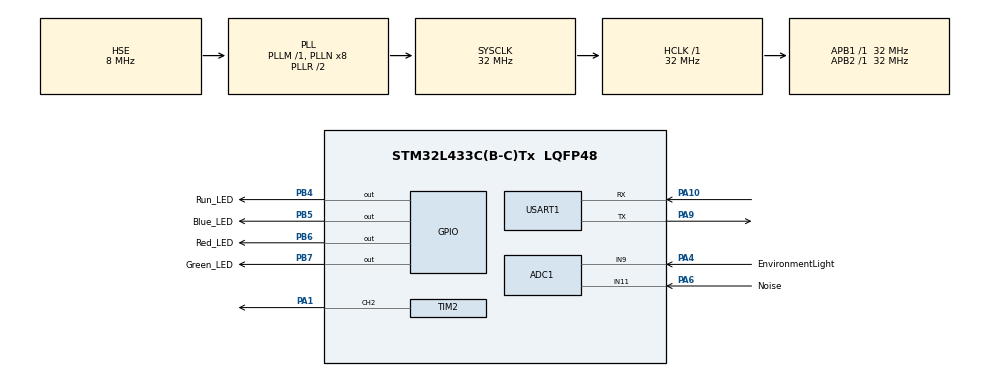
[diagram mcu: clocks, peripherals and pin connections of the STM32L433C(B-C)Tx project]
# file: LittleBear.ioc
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ADC1.Channel-0\#ChannelRegularConversion=ADC_CHANNEL_11
ADC1.Channel-1\#ChannelRegularConversion=ADC_CHANNEL_9
ADC1.ContinuousConvMode=ENABLE
ADC1.DMAContinuousRequests=ENABLE
ADC1.NbrOfConversion=2
ADC1.NbrOfConversionFlag=1
ADC1.OffsetNumber-0\#ChannelRegularConversion=ADC_OFFSET_NONE
ADC1.OffsetNumber-1\#ChannelRegularConversion=ADC_OFFSET_NONE
ADC1.Rank-0\#ChannelRegularConversion=1
ADC1.Rank-1\#ChannelRegularConversion=2
ADC1.SamplingTime-0\#ChannelRegularConversion=ADC_SAMPLETIME_2CYCLES_5
ADC1.SamplingTime-1\#ChannelRegularConversion=ADC_SAMPLETIME_2CYCLES_5
ADC1.master=1
Dma.ADC1.0.Direction=DMA_PERIPH_TO_MEMORY
Dma.ADC1.0.Instance=DMA1_Channel1
Dma.ADC1.0.MemDataAlignment=DMA_MDATAALIGN_WORD
Dma.ADC1.0.MemInc=DMA_MINC_ENABLE
Dma.ADC1.0.Mode=DMA_CIRCULAR
Dma.ADC1.0.PeriphDataAlignment=DMA_PDATAALIGN_HALFWORD
Dma.ADC1.0.PeriphInc=DMA_PINC_DISABLE
Dma.ADC1.0.Priority=DMA_PRIORITY_LOW
Dma.Request0=ADC1
Mcu.Family=STM32L4
Mcu.Name=STM32L433C(B-C)Tx
Mcu.Package=LQFP48
NVIC.ADC1_IRQn=true\:0\:0\:false\:false\:true\:true\:true
NVIC.DMA1_Channel1_IRQn=true\:0\:0\:false\:false\:true\:false\:true
NVIC.PriorityGroup=NVIC_PRIORITYGROUP_4
PA1.Signal=S_TIM2_CH2
PA10.Mode=Asynchronous
PA10.Signal=USART1_RX
PA4.GPIO_Label=EnvironmentLight
PA4.Signal=ADCx_IN9
PA6.GPIO_Label=Noise
PA6.Signal=ADCx_IN11
PA9.Mode=Asynchronous
PA9.Signal=USART1_TX
PB4\ (NJTRST).GPIO_Label=Run_LED
PB4\ (NJTRST).Signal=GPIO_Output
PB5.GPIO_Label=Blue_LED
PB5.PinState=GPIO_PIN_SET
PB5.Signal=GPIO_Output
PB6.GPIO_Label=Red_LED
PB6.PinState=GPIO_PIN_SET
PB6.Signal=GPIO_Output
PB7.GPIO_Label=Green_LED
PB7.PinState=GPIO_PIN_SET
PB7.Signal=GPIO_Output
PH0-OSC_IN\ (PH0).Mode=HSE-External-Oscillator
PH0-OSC_IN\ (PH0).Signal=RCC_OSC_IN
PH1-OSC_OUT\ (PH1).Mode=HSE-External-Oscillator
PH1-OSC_OUT\ (PH1).Signal=RCC_OSC_OUT
ProjectManager.HeapSize=0x200
ProjectManager.StackSize=0x400
ProjectManager.TargetToolchain=MDK-ARM V5
RCC.ADCFreq_Value=32000000
RCC.AHBFreq_Value=32000000
RCC.APB1Freq_Value=32000000
RCC.APB1TimFreq_Value=32000000
RCC.APB2Freq_Value=32000000
RCC.APB2TimFreq_Value=32000000
RCC.CortexFreq_Value=32000000
RCC.HCLKFreq_Value=32000000
RCC.HSE_VALUE=8000000
RCC.HSI48_VALUE=48000000
RCC.HSI_VALUE=16000000
RCC.LSE_VALUE=32768
RCC.MSI_VALUE=4000000
RCC.PLLSourceVirtual=RCC_PLLSOURCE_HSE
RCC.SYSCLKFreq_VALUE=32000000
RCC.SYSCLKSource=RCC_SYSCLKSOURCE_PLLCLK
RCC.USBFreq_Value=32000000
RCC.VCOOutputFreq_Value=64000000
SH.ADCx_IN11.0=ADC1_IN11,IN11-Single-Ended
SH.ADCx_IN9.0=ADC1_IN9,IN9-Single-Ended
SH.S_TIM2_CH2.0=TIM2_CH2,PWM Generation2 CH2
TIM2.Channel-PWM\ Generation2\ CH2=TIM_CHANNEL_2
TIM2.Period=370-1
TIM2.Prescaler=64-1
TIM2.Pulse-PWM\ Generation2\ CH2=185
USART1.VirtualMode-Asynchronous=VM_ASYNC
board=custom

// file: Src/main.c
/* USER CODE BEGIN Header */
/**
  ******************************************************************************
  * @file           : main.c
  * @brief          : Main program body
  ******************************************************************************
  * @attention
  *
  * <h2><center>&copy; Copyright (c) 2019 STMicroelectronics.
  * All rights reserved.</center></h2>
  *
  * This software component is licensed by ST under BSD 3-Clause license,
  * the "License"; You may not use this file except in compliance with the
  * License. You may obtain a copy of the License at:
  *                        opensource.org/licenses/BSD-3-Clause
  *
  ******************************************************************************
  */
/* USER CODE END Header */

#include "main.h"
#include "adc.h"
#include "dma.h"
#include "tim.h"
#include "usart.h"
#include "gpio.h"

/* USER CODE BEGIN Includes */
#include <stdio.h>
#include <string.h>
#include <stdlib.h>
/* USER CODE END Includes */

void SystemClock_Config(void);

/* USER CODE BEGIN 0 */
int KE1_Parse_NNMI(char *pcNNMI, char *pcOut) {
  char ch = 0, lenFlag = 0, dataFlag = 0;
  char acLen[5] = {0};
  int i = 0, pos = 0, dLen = 0;
  //+NNMI:6,010009020000
  for(i=0; i<strlen(pcNNMI); i++){
    ch = pcNNMI[i];
    if(0x0D == ch && 1 == dataFlag)
			break;
    if(':' == ch){
      lenFlag = 1; pos = 0;
      continue;
    }
    if(',' == ch){
      lenFlag = 0;
      dataFlag = 1; pos = 0;
      dLen = atoi(acLen);
      continue;
    }
    if(1 == lenFlag){
      acLen[pos++] = ch;
    }
    if(1 == dataFlag){
      pcOut[pos++] = ch;
    }
  }
  return dLen;
}

void ascii2hex(char *pcAscii, char *pcHex) {
  int iDlen = 0, i = 0, pos = 0;
  iDlen = strlen(pcAscii);
  if(128 < iDlen) return;
  for(i=0; i<iDlen; i++){
    sprintf(&pcHex[pos], "%02X", pcAscii[i]);
    pos += 2;
  }
}

char acDevInfo[128] = {0}, acHexBuf[256] = {0}, acAtBuf[512] = {0}, acUserCmd[64] = {0};
/* USER CODE END 0 */

int main(void)
{
  /* USER CODE BEGIN 1 */
	uint8_t i;
	uint32_t ad1, ad2;
	uint32_t ADC_Value[100];

  int iUserCase = 0, iRet = -1;
  char netFlag = 0, cmdLen = 0;
  uint32_t atLen = 0, dLen = 0, timeout = 1000, upFreq = 0;
  /* USER CODE END 1 */

  /* MCU Configuration--------------------------------------------------------*/

  /* Reset of all peripherals, Initializes the Flash interface and the Systick. */
  HAL_Init();

  /* Configure the system clock */
  SystemClock_Config();

  /* Initialize all configured peripherals */
  MX_GPIO_Init();
  MX_TIM2_Init();
  MX_DMA_Init();
  MX_ADC1_Init();
  MX_USART1_UART_Init();
  /* USER CODE BEGIN 2 */
	printf("This is Little Bear!\r\n");
	HAL_ADC_Start_DMA(&hadc1, (uint32_t*)&ADC_Value, 100);
  /* USER CODE END 2 */

  /* Infinite loop */
  while (1) {
	/* USER CODE BEGIN 3 */
		//Beep_Switch(1);
		//HAL_Delay(1000);
		//Beep_Switch(0);
		//HAL_Delay(1000);
    switch(iUserCase){
      case 0:
				printf("KE1_Clear_AT_BuF\r\n");
        KE1_Clear_AT_Buf();
        iUserCase = 1;
        break;
      case 1:
				printf("Test_Module\r\n");
        KE1_Send_AT("AT\r\n");
        break;
      case 2:
				printf("ShutDown_Module\r\n");
        KE1_Send_AT("AT+CFUN=0\r\n");
        timeout = 10000;
        break;
      case 3:
				printf("SetSouthAddress\r\n");
        KE1_Send_AT("AT+NCDP=180.101.147.115,5683\r\n");
        break;
      case 4:
				printf("TurnOnModule\r\n");
        KE1_Send_AT("AT+CFUN=1\r\n");
        timeout = 10000;
        break;
      case 5:
				printf("SetPDP\r\n");
        KE1_Send_AT("AT+CGDCONT=1,\"IP\",\"CTNB\"\r\n");
        timeout = 1000;
        break;
      case 6:
				printf("ModuleLink\r\n");
        KE1_Send_AT("AT+CGATT=1\r\n");
        break;
      #if 1
      case 7:
        if(0 == upFreq && 1 == netFlag){
					/*channel 11 first, channel 9 second*/
					/*PA6(NOISE)=>channel11*/
					/*PA4(LIGHT)=>channel9*/
					/*ad1: NOISE*/
					/*ad2: LIGHT*/
					for(i = 0, ad1 = 0, ad2 = 0; i<100;) {
							ad1 += ADC_Value[i++];
							ad2 += ADC_Value[i++];
					}
					ad1 /= 50;
					ad2 /= 50;
					printf("\r\n******** NOISE--LIGHT ********\r\n\r\n");
					//printf("ad1 = %d\r\n", ad1);
					//printf("ad2 = %d\r\n", ad2);
					//printf("Noise Voltage: %.3fV\r\n",ad1*3.3f/4096);
					//printf("Light Voltage: %.3fV\r\n",ad2*3.3f/4096);
          memset(acDevInfo, 0, sizeof(acDevInfo));
          memset(acAtBuf, 0, sizeof(acAtBuf));
          dLen = snprintf(acDevInfo, sizeof(acDevInfo), "{\"Noise\":\"%0.3f\",\"Light\":\"%0.3f\"}", ad1*3.3f/4096, ad2*3.3f/4096);// pack the data
          printf("acDevInfo:%s\r\n", acDevInfo);
          ascii2hex(acDevInfo, acHexBuf);
          snprintf(acAtBuf, sizeof(acAtBuf), "AT+NMGS=%d,00%04X%s\r\n", (dLen+3), dLen, acHexBuf);// pack the data and the AT command
					printf("acAtBuf:%s\r\n", acAtBuf);
          KE1_Send_AT(acAtBuf);
					printf("\r\n*******End NOISE-LIGHT********\r\n");
          upFreq = (60*60);
        }
        break;
        #endif

    }

    atLen = sizeof(acAtBuf);
    iRet = KE1_Recv_AT(acAtBuf, &atLen, timeout);
    printf("iRAT:%d\r\n",iRet);
    if(0 == iRet){//AT Timeout
			printf("iRet = 0, AT Timeout\r\n");
    } else if(1 == iRet) {//AT OK
      if(7 == iUserCase){

      }else{
        iUserCase++;
      }

      HAL_Delay(1000);
    } else if(2 == iRet) {//AT ERROR
      printf("AT Error!\r\n");
      if(7 == iUserCase){
        iUserCase = 0; //Initiate Module
      }
      HAL_Delay(1000);
    } else if(3 == iRet) {//Net Ready
      printf("Net Ready!\r\n");
      netFlag = 1;
      HAL_Delay(5000);
    } else if(4 == iRet) {//AT Receive Data
      printf("AT Receive Data From Platform: %s\r\n", acAtBuf);
      memset(acUserCmd, 0, sizeof(acUserCmd));
      cmdLen = KE1_Parse_NNMI(acAtBuf, acUserCmd); //Parse Command
      printf("User Data[%d]:%s\r\n", cmdLen, acUserCmd);
      if(strstr(acUserCmd, "AAAA0000")){
        printf("Device Info Upload Successfully\r\n");
      } else {
        /*
        * ????????????
        * TO-DO
        */
				printf("parse user commans \r\n");
				printf("user data[%d]:%s\r\n", cmdLen, acUserCmd);
        HAL_GPIO_TogglePin(GPIOB, GPIO_PIN_5|GPIO_PIN_6|GPIO_PIN_7);
        HAL_Delay(1000);

        /* ?????????
        * AT+NMGS=5,02000A000A
        */
        acUserCmd[1] = '2';
        acUserCmd[6] = '0';acUserCmd[7] = '0';acUserCmd[8] = '0';acUserCmd[9] = '0';acUserCmd[10] = 0;
        snprintf(acAtBuf, sizeof(acAtBuf), "AT+NMGS=%d,%s\r\n", 5, acUserCmd);// ??COAP???AT??
        KE1_Send_AT(acAtBuf);
      }

    }

    if(0 != upFreq) upFreq--; //3600
	}
	/* USER CODE END 3 */
}

void SystemClock_Config(void)
{
  RCC_OscInitTypeDef RCC_OscInitStruct = {0};
  RCC_ClkInitTypeDef RCC_ClkInitStruct = {0};
  RCC_PeriphCLKInitTypeDef PeriphClkInit = {0};

  /** Initializes the CPU, AHB and APB busses clocks
  */
  RCC_OscInitStruct.OscillatorType = RCC_OSCILLATORTYPE_HSE;
  RCC_OscInitStruct.HSEState = RCC_HSE_ON;
  RCC_OscInitStruct.PLL.PLLState = RCC_PLL_ON;
  RCC_OscInitStruct.PLL.PLLSource = RCC_PLLSOURCE_HSE;
  RCC_OscInitStruct.PLL.PLLM = 1;
  RCC_OscInitStruct.PLL.PLLN = 8;
  RCC_OscInitStruct.PLL.PLLP = RCC_PLLP_DIV7;
  RCC_OscInitStruct.PLL.PLLQ = RCC_PLLQ_DIV2;
  RCC_OscInitStruct.PLL.PLLR = RCC_PLLR_DIV2;
  if (HAL_RCC_OscConfig(&RCC_OscInitStruct) != HAL_OK)
  {
    Error_Handler();
  }
  /** Initializes the CPU, AHB and APB busses clocks
  */
  RCC_ClkInitStruct.ClockType = RCC_CLOCKTYPE_HCLK|RCC_CLOCKTYPE_SYSCLK
                              |RCC_CLOCKTYPE_PCLK1|RCC_CLOCKTYPE_PCLK2;
  RCC_ClkInitStruct.SYSCLKSource = RCC_SYSCLKSOURCE_PLLCLK;
  RCC_ClkInitStruct.AHBCLKDivider = RCC_SYSCLK_DIV1;
  RCC_ClkInitStruct.APB1CLKDivider = RCC_HCLK_DIV1;
  RCC_ClkInitStruct.APB2CLKDivider = RCC_HCLK_DIV1;

  if (HAL_RCC_ClockConfig(&RCC_ClkInitStruct, FLASH_LATENCY_1) != HAL_OK)
  {
    Error_Handler();
  }
  PeriphClkInit.PeriphClockSelection = RCC_PERIPHCLK_USART1|RCC_PERIPHCLK_ADC;
  PeriphClkInit.Usart1ClockSelection = RCC_USART1CLKSOURCE_PCLK2;
  PeriphClkInit.AdcClockSelection = RCC_ADCCLKSOURCE_PLLSAI1;
  PeriphClkInit.PLLSAI1.PLLSAI1Source = RCC_PLLSOURCE_HSE;
  PeriphClkInit.PLLSAI1.PLLSAI1M = 1;
  PeriphClkInit.PLLSAI1.PLLSAI1N = 8;
  PeriphClkInit.PLLSAI1.PLLSAI1P = RCC_PLLP_DIV7;
  PeriphClkInit.PLLSAI1.PLLSAI1Q = RCC_PLLQ_DIV2;
  PeriphClkInit.PLLSAI1.PLLSAI1R = RCC_PLLR_DIV2;
  PeriphClkInit.PLLSAI1.PLLSAI1ClockOut = RCC_PLLSAI1_ADC1CLK;
  if (HAL_RCCEx_PeriphCLKConfig(&PeriphClkInit) != HAL_OK)
  {
    Error_Handler();
  }
  /** Configure the main internal regulator output voltage
  */
  if (HAL_PWREx_ControlVoltageScaling(PWR_REGULATOR_VOLTAGE_SCALE1) != HAL_OK)
  {
    Error_Handler();
  }
}

void Error_Handler(void)
{
}

/************************ (C) COPYRIGHT STMicroelectronics *****END OF FILE****/
